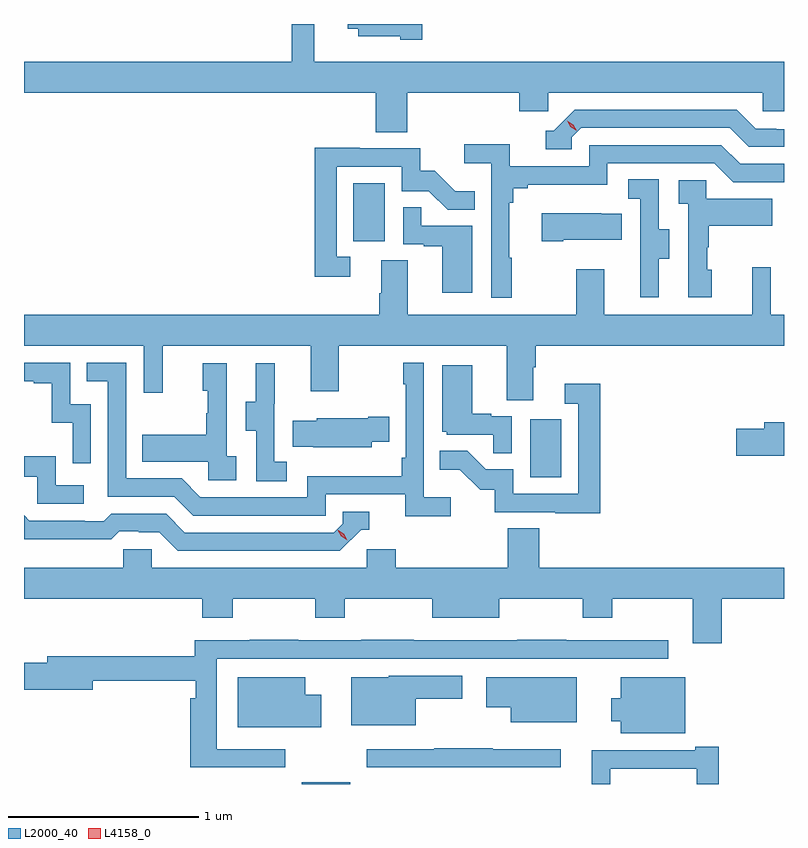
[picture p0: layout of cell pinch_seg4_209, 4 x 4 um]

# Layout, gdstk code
import gdstk
lib = gdstk.Library(unit=1e-6, precision=1e-09)
def R(c, l, rs):  # rectangles x0, y0, x1, y1
    for r in rs: c.add(gdstk.rectangle(r[:2], r[2:], *l))
def P(c, l, *ps):  # polygons
    for p in ps: c.add(gdstk.Polygon(p, *l))
L2000_40 = (2000, 40)
L4158_0 = (4158, 0)

pinch_seg4_209 = lib.new_cell('pinch_seg4_209')
R(pinch_seg4_209, L2000_40, [(1001.323,817.158,1001.576,817.166), (1002.524,818.772,1002.688,819.079), (1001.594,820.014,1001.758,820.321)])
P(pinch_seg4_209, L2000_40, [(1001.711,820.588),(1001.876,820.588),(1001.876,820.796),(1002.467,820.796),(1002.467,820.698),(1002.618,820.698),(1002.618,820.796),(1003.749,820.796),(1003.749,820.698),(1003.86,820.698),(1003.86,820.96),(1001.388,820.96),(1001.388,821.158),(1001.269,821.158),(1001.269,820.96),(999.86,820.96),(999.86,820.796),(1001.711,820.796)],
  [(1001.957,821.158),(1001.564,821.158),(1001.564,821.132),(1001.618,821.132),(1001.618,821.093),(1001.841,821.093),(1001.841,821.075),(1001.957,821.075)],
  [(1002.744,820.563),(1002.792,820.611),(1003.575,820.611),(1003.674,820.512),(1003.86,820.512),(1003.86,820.605),(1003.818,820.605),(1003.818,820.608),(1003.711,820.608),(1003.612,820.707),(1002.759,820.707),(1002.648,820.596),(1002.605,820.596),(1002.605,820.5),(1002.744,820.5)],
  [(1002.427,819.929),(1002.415,819.929),(1002.415,820.217),(1002.434,820.217),(1002.434,820.294),(1002.511,820.294),(1002.511,820.313),(1002.93,820.313),(1002.93,820.425),(1003.494,820.425),(1003.593,820.326),(1003.86,820.326),(1003.86,820.422),(1003.63,820.422),(1003.531,820.521),(1002.834,820.521),(1002.834,820.41),(1002.416,820.41),(1002.416,820.526),(1002.177,820.526),(1002.177,820.424),(1002.318,820.424),(1002.318,819.717),(1002.427,819.717)],
  [(1001.578,819.933),(1001.505,819.933),(1001.505,820.407),(1001.847,820.407),(1001.847,820.278),(1001.991,820.278),(1002.089,820.18),(1002.233,820.18),(1002.233,820.279),(1002.129,820.279),(1002.022,820.386),(1001.946,820.386),(1001.946,820.503),(1001.627,820.503),(1001.627,820.508),(1001.389,820.508),(1001.389,819.828),(1001.578,819.828)],
  [(1003.201,819.922),(1003.255,819.922),(1003.255,820.077),(1003.2,820.077),(1003.2,820.34),(1003.041,820.34),(1003.041,820.237),(1003.104,820.237),(1003.104,819.933),(1003.103,819.933),(1003.103,819.72),(1003.201,819.72)],
  [(1003.48,819.864),(1003.455,819.864),(1003.455,819.983),(1003.465,819.983),(1003.465,820.097),(1003.799,820.097),(1003.799,820.237),(1003.452,820.237),(1003.452,820.335),(1003.305,820.335),(1003.305,820.211),(1003.356,820.211),(1003.356,819.72),(1003.48,819.72)],
  [(1002.22,820.095),(1001.951,820.095),(1001.951,820.193),(1001.856,820.193),(1001.856,819.999),(1001.963,819.999),(1001.963,819.987),(1002.062,819.987),(1002.062,819.744),(1002.22,819.744)],
  [(1002.697,820.022),(1003.007,820.022),(1003.007,820.159),(1002.899,820.159),(1002.899,820.162),(1002.585,820.162),(1002.585,820.015),(1002.697,820.015)],
  [(1001.881,819.914),(1001.741,819.914),(1001.741,819.74),(1001.729,819.74),(1001.729,819.628),(999.86,819.628),(999.86,819.464),(1000.491,819.464),(1000.491,819.216),(1000.589,819.216),(1000.589,819.464),(1001.369,819.464),(1001.369,819.225),(1001.517,819.225),(1001.517,819.464),(1002.401,819.464),(1002.401,819.178),(1002.541,819.178),(1002.541,819.352),(1002.554,819.352),(1002.554,819.464),(1003.86,819.464),(1003.86,819.628),(1003.791,819.628),(1003.791,819.877),(1003.694,819.877),(1003.694,819.628),(1002.913,819.628),(1002.913,819.868),(1002.766,819.868),(1002.766,819.628),(1001.881,819.628)],
  [(1002.106,818.668),(1001.964,818.668),(1001.964,819.376),(1001.856,819.376),(1001.856,819.263),(1001.868,819.263),(1001.868,818.875),(1001.848,818.875),(1001.848,818.779),(1001.352,818.779),(1001.352,818.667),(1000.788,818.667),(1000.689,818.766),(1000.398,818.766),(1000.398,819.375),(1000.189,819.375),(1000.189,819.279),(1000.302,819.279),(1000.302,818.67),(1000.652,818.67),(1000.751,818.571),(1001.448,818.571),(1001.448,818.682),(1001.867,818.682),(1001.867,818.566),(1002.106,818.566)],
  [(1000.212,819.156),(1000.104,819.156),(1000.104,819.375),(999.86,819.375),(999.86,819.279),(999.911,819.279),(999.911,819.267),(1000.007,819.267),(1000.007,819.059),(1000.116,819.059),(1000.116,818.847),(1000.212,818.847)],
  [(1000.978,818.882),(1000.926,818.882),(1000.926,819.373),(1000.802,819.373),(1000.802,819.228),(1000.828,819.228),(1000.828,819.11),(1000.818,819.11),(1000.818,818.995),(1000.483,818.995),(1000.483,818.855),(1000.83,818.855),(1000.83,818.757),(1000.978,818.757)],
  [(1001.242,818.855),(1001.178,818.855),(1001.178,819.159),(1001.18,819.159),(1001.18,819.373),(1001.081,819.373),(1001.081,819.171),(1001.027,819.171),(1001.027,819.016),(1001.082,819.016),(1001.082,818.752),(1001.242,818.752)],
  [(1002.426,819.093),(1002.32,819.093),(1002.32,819.106),(1002.22,819.106),(1002.22,819.361),(1002.062,819.361),(1002.062,819.012),(1002.084,819.012),(1002.084,818.997),(1002.331,818.997),(1002.331,818.899),(1002.426,818.899)],
  [(1002.893,819.265),(1002.705,819.265),(1002.705,819.159),(1002.777,819.159),(1002.777,818.685),(1002.435,818.685),(1002.435,818.814),(1002.291,818.814),(1002.193,818.912),(1002.049,818.912),(1002.049,818.813),(1002.153,818.813),(1002.26,818.706),(1002.337,818.706),(1002.337,818.589),(1002.655,818.589),(1002.655,818.584),(1002.893,818.584)],
  [(1001.689,818.96),(1001.783,818.96),(1001.783,819.09),(1001.672,819.09),(1001.672,819.082),(1001.4,819.082),(1001.4,819.07),(1001.275,819.07),(1001.275,818.933),(1001.383,818.933),(1001.383,818.93),(1001.689,818.93)],
  [(1003.86,819.061),(1003.757,819.061),(1003.757,819.027),(1003.608,819.027),(1003.608,818.885),(1003.86,818.885)],
  [(1000.174,818.73),(1000.026,818.73),(1000.026,818.884),(999.86,818.884),(999.86,818.775),(999.93,818.775),(999.93,818.634),(1000.174,818.634)],
  [(1001.634,818.496),(1001.677,818.496),(1001.677,818.592),(1001.538,818.592),(1001.538,818.529),(1001.49,818.481),(1000.707,818.481),(1000.608,818.58),(1000.319,818.58),(1000.28,818.541),(1000.181,818.541),(1000.181,818.544),(999.888,818.544),(999.86,818.572),(999.86,818.447),(1000.086,818.447),(1000.086,818.445),(1000.319,818.445),(1000.361,818.487),(1000.464,818.487),(1000.464,818.484),(1000.571,818.484),(1000.67,818.385),(1001.523,818.385)],
  [(1002.572,818.504),(1002.407,818.504),(1002.407,818.296),(1001.816,818.296),(1001.816,818.394),(1001.664,818.394),(1001.664,818.296),(1000.533,818.296),(1000.533,818.394),(1000.383,818.394),(1000.383,818.296),(999.86,818.296),(999.86,818.132),(1000.799,818.132),(1000.799,818.033),(1000.959,818.033),(1000.959,818.132),(1001.392,818.132),(1001.392,818.033),(1001.547,818.033),(1001.547,818.132),(1002.008,818.132),(1002.008,818.033),(1002.361,818.033),(1002.361,818.132),(1002.802,818.132),(1002.802,818.033),(1002.957,818.033),(1002.957,818.132),(1003.379,818.132),(1003.379,817.899),(1003.532,817.899),(1003.532,818.132),(1003.86,818.132),(1003.86,818.296),(1002.572,818.296)],
  [(1001.236,817.341),(1000.875,817.341),(1000.875,817.818),(1003.252,817.818),(1003.252,817.914),(1002.713,817.914),(1002.713,817.916),(1002.457,817.916),(1002.457,817.914),(1001.912,817.914),(1001.912,817.916),(1001.635,817.916),(1001.635,817.914),(1001.303,817.914),(1001.303,817.916),(1001.047,817.916),(1001.047,817.914),(1000.759,817.914),(1000.759,817.831),(999.983,817.831),(999.983,817.797),(999.86,817.797),(999.86,817.655),(1000.222,817.655),(1000.222,817.702),(1000.763,817.702),(1000.763,817.609),(1000.736,817.609),(1000.736,817.245),(1001.236,817.245)],
  [(1001.923,817.607),(1002.166,817.607),(1002.166,817.729),(1001.781,817.729),(1001.781,817.72),(1001.582,817.72),(1001.582,817.466),(1001.923,817.466)],
  [(1002.769,817.72),(1002.294,817.72),(1002.294,817.562),(1002.422,817.562),(1002.422,817.484),(1002.769,817.484)],
  [(1003.339,817.72),(1003.001,817.72),(1003.001,817.609),(1002.95,817.609),(1002.95,817.487),(1003.001,817.487),(1003.001,817.424),(1003.339,817.424)],
  [(1001.425,817.627),(1001.341,817.627),(1001.341,817.72),(1000.985,817.72),(1000.985,817.457),(1001.425,817.457)],
  [(1002.946,817.239),(1003.4,817.239),(1003.4,817.158),(1003.517,817.158),(1003.517,817.355),(1003.394,817.355),(1003.394,817.335),(1002.848,817.335),(1002.848,817.158),(1002.946,817.158)],
  [(1002.685,817.342),(1002.326,817.342),(1002.326,817.346),(1002.019,817.346),(1002.019,817.341),(1001.664,817.341),(1001.664,817.245),(1002.685,817.245)])
P(pinch_seg4_209, L4158_0, [(1001.56,818.442),(1001.529,818.461),(1001.512,818.494),(1001.512,818.494),(1001.513,818.494),(1001.544,818.475),(1001.56,818.442),(1001.56,818.442)],
  [(1002.768,820.597),(1002.736,820.616),(1002.72,820.648),(1002.72,820.648),(1002.72,820.648),(1002.751,820.629),(1002.768,820.597),(1002.768,820.597)])

lib.write_gds('pinch_seg4_209.gds')
